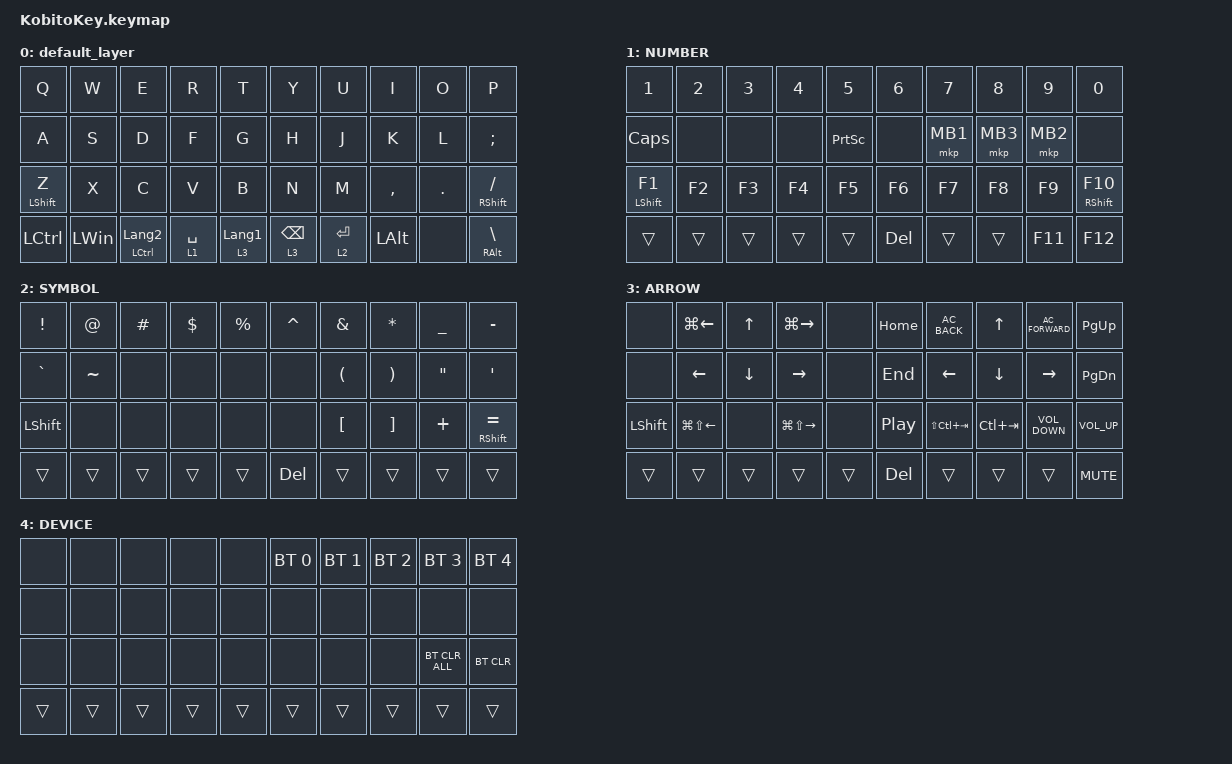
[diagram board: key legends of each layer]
#include <input/processors.dtsi>
#include <behaviors.dtsi>
#include <dt-bindings/zmk/bt.h>
#include <dt-bindings/zmk/keys.h>
#include <dt-bindings/zmk/pointing.h>

&mkp_input_listener {
    // マウスキーを押したらAMLを延長
    input-processors = <&zip_temp_layer 1 500>;
};

&mt {
    quick-tap-ms = <0>;
    flavor = "balanced";
};

&lt {
    quick-tap-ms = <300>;
    flavor = "balanced";
};

/ {
    combos {
        compatible = "zmk,combos";

        layer4_ESC {
            timeout-ms = <50>;
            key-positions = <35 34>;
            bindings = <&lt 4 ESCAPE>;
        };

        tab {
            timeout-ms = <50>;
            key-positions = <12 13>;
            bindings = <&kp TAB>;
        };
    };

    macros {
        to_layer_0: to_layer_0 {
            compatible = "zmk,behavior-macro-one-param";
            #binding-cells = <1>;
            bindings = <&to 0 &macro_param_1to1 &kp MACRO_PLACEHOLDER>;
            label = "TO_LAYER_0";
        };
    };

    behaviors {
        lt_to_layer_0: lt_to_layer_0 {
            compatible = "zmk,behavior-hold-tap";
            label = "LAYER_TAP_TO_0";
            bindings = <&mo>, <&to_layer_0>;

            #binding-cells = <2>;
            tapping-term-ms = <200>;
        };

        double_tap: double_tap {
            compatible = "zmk,behavior-hold-tap";
            label = "DOUBLE_TAP";
            bindings = <&mo>, <&kp>;

            #binding-cells = <2>;
            tapping-term-ms = <200>;
            quick-tap-ms = <200>;
        };
    };

    keymap {
        compatible = "zmk,keymap";

        default_layer {
            bindings = <
&kp Q             &kp W         &kp E                        &kp R                   &kp T                        &kp Y                    &kp U                &kp I         &kp O    &kp P
&kp A             &kp S         &kp D                        &kp F                   &kp G                        &kp H                    &kp J                &kp K         &kp L    &kp SEMI
&mt LEFT_SHIFT Z  &kp X         &kp C                        &kp V                   &kp B                        &kp N                    &kp M                &kp COMMA     &kp DOT  &mt RIGHT_SHIFT SLASH
&kp LEFT_CONTROL  &kp LEFT_WIN  &mt LEFT_CONTROL LANGUAGE_2  &lt_to_layer_0 1 SPACE  &lt_to_layer_0 3 LANGUAGE_1  &double_tap 3 BACKSPACE  &double_tap 2 ENTER  &kp LEFT_ALT  &none    &mt RIGHT_ALT BACKSLASH
            >;
        };

        layer1 {
            label = "NUMBER";
            bindings = <
&kp NUMBER_1       &kp NUMBER_2  &kp NUMBER_3  &kp NUMBER_4  &kp NUMBER_5     &kp NUMBER_6  &kp NUMBER_7  &kp NUMBER_8  &kp NUMBER_9  &kp NUMBER_0
&kp CAPSLOCK       &none         &none         &none         &kp PRINTSCREEN  &none         &mkp MB1      &mkp MB3      &mkp MB2      &none
&mt LEFT_SHIFT F1  &kp F2        &kp F3        &kp F4        &kp F5           &kp F6        &kp F7        &kp F8        &kp F9        &mt RIGHT_SHIFT F10
&trans             &trans        &trans        &trans        &trans           &kp DELETE    &trans        &trans        &kp F11       &kp F12
            >;
        };

        layer2 {
            label = "SYMBOL";
            bindings = <
&kp EXCLAMATION  &kp AT_SIGN  &kp HASH  &kp DOLLAR  &kp PERCENT  &kp CARET  &kp AMPERSAND         &kp ASTERISK           &kp UNDERSCORE     &kp MINUS
&kp GRAVE        &kp TILDE    &none     &none       &none        &none      &kp LEFT_PARENTHESIS  &kp RIGHT_PARENTHESIS  &kp DOUBLE_QUOTES  &kp SINGLE_QUOTE
&kp LEFT_SHIFT   &none        &none     &none       &none        &none      &kp LEFT_BRACKET      &kp RIGHT_BRACKET      &kp PLUS           &mt RIGHT_SHIFT EQUAL
&trans           &trans       &trans    &trans      &trans       &kp DEL    &trans                &trans                 &trans             &trans
            >;
        };

        layer3 {
            label = "ARROW";
            bindings = <
&none           &kp LG(LEFT_ARROW)      &kp UP_ARROW    &kp LG(RIGHT_ARROW)      &none   &kp HOME          &kp C_AC_BACK    &kp UP_ARROW    &kp C_AC_FORWARD   &kp PAGE_UP
&none           &kp LEFT_ARROW          &kp DOWN_ARROW  &kp RIGHT_ARROW          &none   &kp END           &kp LEFT_ARROW   &kp DOWN_ARROW  &kp RIGHT_ARROW    &kp PAGE_DOWN
&kp LEFT_SHIFT  &kp LG(LS(LEFT_ARROW))  &none           &kp LG(LS(RIGHT_ARROW))  &none   &kp C_PLAY_PAUSE  &kp LS(LC(TAB))  &kp LC(TAB)     &kp C_VOLUME_DOWN  &kp C_VOLUME_UP
&trans          &trans                  &trans          &trans                   &trans  &kp DELETE        &trans           &trans          &trans             &kp C_MUTE
            >;
        };

        layer4 {
            label = "DEVICE";
            bindings = <
&none   &none   &none   &none   &none   &bt BT_SEL 0  &bt BT_SEL 1  &bt BT_SEL 2  &bt BT_SEL 3    &bt BT_SEL 4
&none   &none   &none   &none   &none   &none         &none         &none         &none           &none
&none   &none   &none   &none   &none   &none         &none         &none         &bt BT_CLR_ALL  &bt BT_CLR
&trans  &trans  &trans  &trans  &trans  &trans        &trans        &trans        &trans          &trans
            >;
        };
    };
};
